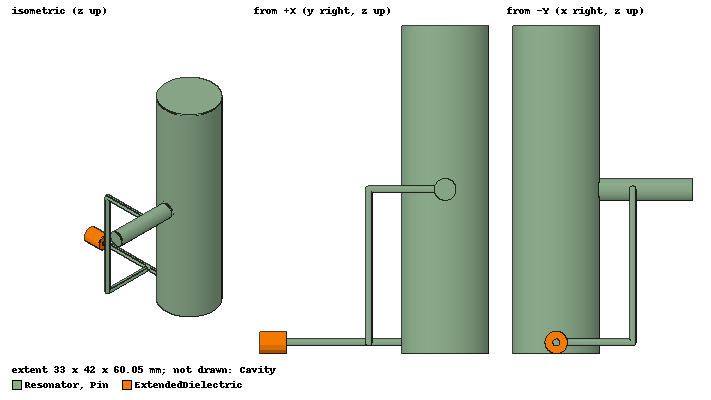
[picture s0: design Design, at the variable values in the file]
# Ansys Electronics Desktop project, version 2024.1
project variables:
  $CondMetal = 38000000S_per_m
  $CoaxDiel = 1.97
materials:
  vacuum: permittivity=1
  LossyMetal: conductivity=$CondMetal
  CoaxMaterial: permittivity=$CoaxDiel

design Design (HFSS, HFSS Terminal Network, model units mm)
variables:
  a = 50mm
  b = 80mm
  r2 = 2mm
  h2 = 17mm
  r1 = 8mm
  h1 = 60mm
  Rcoax = 2.05mm
  CavityThickness = 4mm
  hv = 12mm
  RCoaxCond = 0.635mm
  h_h1 = 11mm
  h_h2 = 11mm
  CoaxL = 5mm
  Pmag = 1V
  Ppha = 0deg
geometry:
  Cavity [vacuum] = box(corner=(-a/2, -a/2, 0mm), size=(a, a, b))
  Resonator [LossyMetal] = cylinder(axis=X, base_centre=(a/2, 0mm, b/2), radius=r2, height=-(h2+r1))
  Cylinder2 = cylinder(axis=Z, base_centre=(a/2 - (h2+r1), 0mm, -h1/2 + b/2), radius=r1, height=h1)
  Resonator.unite(Cylinder2)
  Cylinder3 = cylinder(axis=Y, base_centre=((a/2 - (h2+r1)), -a/2, hv), radius=Rcoax, height=-CavityThickness)
  Cylinder4 = cylinder(axis=Y, base_centre=((a/2 - (h2+r1)), -a/2 - CavityThickness  - CoaxL, hv), radius=RCoaxCond, height=-CavityThickness + a/2 + CoaxL)
  Pin [LossyMetal] = cylinder(axis=X, base_centre=((a/2 - (h2+r1)), h_h1 - a/2, hv), radius=RCoaxCond, height=a/2-h_h2)
  Cavity.unite(Cylinder3)
  Cylinder6 = cylinder(axis=Z, base_centre=(a/2-h_h2, -a/2+h_h1, hv), radius=RCoaxCond, height=b/2-hv)
  Sphere1 = sphere(centre=(a/2-h_h2, -a/2+h_h1, hv), radius=RCoaxCond)
  Cylinder7 = cylinder(axis=Y, base_centre=(a/2-h_h2, -a/2+h_h1, b/2), radius=RCoaxCond, height=a/2 - h_h1)
  Sphere2 = sphere(centre=(a/2-h_h2, -a/2+h_h1, b/2), radius=RCoaxCond)
  Sphere1.unite(Sphere2, Cylinder7, Cylinder6)
  Pin.unite(Cylinder4, Sphere1)
  Resonator_1 = Resonator.copy()
  Pin.subtract(Resonator_1)
  ExtendedDielectric [CoaxMaterial] = cylinder(axis=Y, base_centre=((a/2 - (h2+r1)), -a/2 - CavityThickness, hv), radius=Rcoax, height=-CoaxL)
  Pin_1 = Pin.copy()
  ExtendedDielectric.subtract(Pin_1)
  Pin_2 = Pin.copy()
  Cavity.subtract(Pin_2)
  coordinate_system RelativeCS = origin=(1000mm, 0mm, 0mm) x=(1mm, 0mm, 0mm) y=(0mm, 1mm, 0mm)
  Polyline1 = polyline((0mm, 0mm, 0.5*(b-h1)) (0mm, 0mm, 0mm))
  Polyline2 = polyline((0mm, 0mm, b/2+h1/2) (0mm, 0mm, b))
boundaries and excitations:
  FiniteCond1: Finite Conductivity Faces=Cavity.face(+z, +x, +y) Conductivity=$CondMetal Permeability=1 IsInternal
  FiniteCond2: Finite Conductivity Faces=Cavity.face(-x, -y, -z, at (0, -27, 9.95)) Conductivity=$CondMetal Permeability=1 IsInternal
  FiniteCond3: Finite Conductivity Faces=ExtendedDielectric.face(side) Conductivity=$CondMetal Permeability=1 IsInternal
  Pin_T1: Terminal port=P1 Edges=Pin.edge(at (0, -34, 11.365)) TerminalResistance=50ohm
  P1: Wave Port Faces=ExtendedDielectric.face(-y end) WavePortType=Terminal NumModes=1
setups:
  QE: HfssDriven Frequency=5GHz MaxDeltaS=0.02 MaximumPasses=6 MinimumPasses=1 MinimumConvergedPasses=1 PercentRefinement=30 BasisOrder=2 PortAccuracy=2 DrivenSolverType="Direct Solver"
    sweep SweepInter: 0.3GHz to 2.3GHz, 401 points; Type=Interpolating InterpTolerance=0.5 InterpMaxSolns=250 PassivityErrorTolerance=0.0001
    sweep SweepDiscrete: point 1GHz; point 1.9GHz; SaveSingleField Type=Discrete
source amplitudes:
  P1:1: Pmag Ppha
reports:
  S11mag: dB(St(Pin_T1,Pin_T1)) vs Freq on QE : SweepInter
  Gd: GroupDelay(Pin_T1,Pin_T1) vs Freq on QE : SweepInter
  S11pha: ang_rad(St(Pin_T1,Pin_T1)) vs Freq on QE : SweepInter
  Emag_low_L1: ComplexMag_E vs Distance on QE : SweepDiscrete [Freq=1GHz Phase=0deg]
  Emag_high_L1: ComplexMag_E vs Distance on QE : SweepDiscrete [Freq=1.9GHz Phase=0deg]
  Emag_low_L2: ComplexMag_E vs Distance on QE : SweepDiscrete [Freq=1GHz Phase=0deg]
  Emag_high_L2: ComplexMag_E vs Distance on QE : SweepDiscrete [Freq=1.9GHz Phase=0deg]
